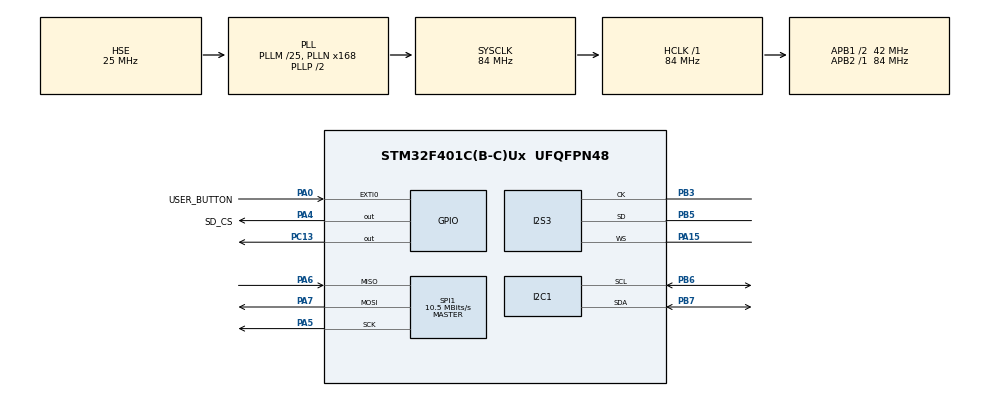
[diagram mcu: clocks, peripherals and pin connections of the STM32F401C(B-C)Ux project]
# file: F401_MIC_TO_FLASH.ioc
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Dma.I2C1_TX.3.Direction=DMA_MEMORY_TO_PERIPH
Dma.I2C1_TX.3.FIFOMode=DMA_FIFOMODE_DISABLE
Dma.I2C1_TX.3.Instance=DMA1_Stream6
Dma.I2C1_TX.3.MemDataAlignment=DMA_MDATAALIGN_BYTE
Dma.I2C1_TX.3.MemInc=DMA_MINC_ENABLE
Dma.I2C1_TX.3.Mode=DMA_NORMAL
Dma.I2C1_TX.3.PeriphDataAlignment=DMA_PDATAALIGN_BYTE
Dma.I2C1_TX.3.PeriphInc=DMA_PINC_DISABLE
Dma.I2C1_TX.3.Priority=DMA_PRIORITY_LOW
Dma.Request0=SPI1_RX
Dma.Request1=SPI1_TX
Dma.Request2=SPI3_RX
Dma.Request3=I2C1_TX
Dma.SPI1_RX.0.Direction=DMA_PERIPH_TO_MEMORY
Dma.SPI1_RX.0.FIFOMode=DMA_FIFOMODE_DISABLE
Dma.SPI1_RX.0.Instance=DMA2_Stream0
Dma.SPI1_RX.0.MemDataAlignment=DMA_MDATAALIGN_BYTE
Dma.SPI1_RX.0.MemInc=DMA_MINC_ENABLE
Dma.SPI1_RX.0.Mode=DMA_NORMAL
Dma.SPI1_RX.0.PeriphDataAlignment=DMA_PDATAALIGN_BYTE
Dma.SPI1_RX.0.PeriphInc=DMA_PINC_DISABLE
Dma.SPI1_RX.0.Priority=DMA_PRIORITY_LOW
Dma.SPI1_TX.1.Direction=DMA_MEMORY_TO_PERIPH
Dma.SPI1_TX.1.FIFOMode=DMA_FIFOMODE_DISABLE
Dma.SPI1_TX.1.Instance=DMA2_Stream3
Dma.SPI1_TX.1.MemDataAlignment=DMA_MDATAALIGN_BYTE
Dma.SPI1_TX.1.MemInc=DMA_MINC_ENABLE
Dma.SPI1_TX.1.Mode=DMA_NORMAL
Dma.SPI1_TX.1.PeriphDataAlignment=DMA_PDATAALIGN_BYTE
Dma.SPI1_TX.1.PeriphInc=DMA_PINC_DISABLE
Dma.SPI1_TX.1.Priority=DMA_PRIORITY_LOW
Dma.SPI3_RX.2.Direction=DMA_PERIPH_TO_MEMORY
Dma.SPI3_RX.2.FIFOMode=DMA_FIFOMODE_DISABLE
Dma.SPI3_RX.2.Instance=DMA1_Stream0
Dma.SPI3_RX.2.MemDataAlignment=DMA_MDATAALIGN_WORD
Dma.SPI3_RX.2.MemInc=DMA_MINC_ENABLE
Dma.SPI3_RX.2.Mode=DMA_CIRCULAR
Dma.SPI3_RX.2.PeriphDataAlignment=DMA_PDATAALIGN_WORD
Dma.SPI3_RX.2.PeriphInc=DMA_PINC_DISABLE
Dma.SPI3_RX.2.Priority=DMA_PRIORITY_LOW
FATFS._FS_LOCK=5
FATFS._MAX_SS=4096
FATFS._USE_LFN=1
I2C1.I2C_Mode=I2C_Fast
I2S3.AudioFreq=I2S_AUDIOFREQ_16K
I2S3.DataFormat=I2S_DATAFORMAT_24B
I2S3.ErrorAudioFreq=-0.26 %
I2S3.FullDuplexMode=I2S_FULLDUPLEXMODE_DISABLE
I2S3.Instance=SPI$Index
I2S3.Mode=I2S_MODE_MASTER_RX
I2S3.RealAudioFreq=15.957 KHz
I2S3.VirtualMode=I2S_MODE_MASTER
Mcu.Family=STM32F4
Mcu.Name=STM32F401C(B-C)Ux
Mcu.Package=UFQFPN48
NVIC.DMA1_Stream0_IRQn=true\:0\:0\:false\:false\:true\:false\:true\:true
NVIC.DMA1_Stream6_IRQn=true\:0\:0\:false\:false\:true\:false\:true\:true
NVIC.DMA2_Stream0_IRQn=true\:0\:0\:false\:false\:true\:false\:true\:true
NVIC.DMA2_Stream3_IRQn=true\:0\:0\:false\:false\:true\:false\:true\:true
NVIC.EXTI0_IRQn=true\:0\:0\:false\:false\:true\:true\:true\:true
NVIC.I2C1_EV_IRQn=true\:0\:0\:false\:false\:true\:true\:true\:true
NVIC.PriorityGroup=NVIC_PRIORITYGROUP_4
PA0-WKUP.GPIO_Label=USER_BUTTON
PA0-WKUP.GPIO_PuPd=GPIO_PULLUP
PA0-WKUP.Signal=GPXTI0
PA15.Mode=Half_Duplex_Master
PA15.Signal=I2S3_WS
PA4.GPIO_Label=SD_CS
PA4.Signal=GPIO_Output
PA5.Mode=Full_Duplex_Master
PA5.Signal=SPI1_SCK
PA6.Mode=Full_Duplex_Master
PA6.Signal=SPI1_MISO
PA7.Mode=Full_Duplex_Master
PA7.Signal=SPI1_MOSI
PB3.Mode=Half_Duplex_Master
PB3.Signal=I2S3_CK
PB5.Mode=Half_Duplex_Master
PB5.Signal=I2S3_SD
PB6.Mode=I2C
PB6.Signal=I2C1_SCL
PB7.Mode=I2C
PB7.Signal=I2C1_SDA
PC13-ANTI_TAMP.Signal=GPIO_Output
PH0\ -\ OSC_IN.Mode=HSE-External-Oscillator
PH0\ -\ OSC_IN.Signal=RCC_OSC_IN
PH1\ -\ OSC_OUT.Mode=HSE-External-Oscillator
PH1\ -\ OSC_OUT.Signal=RCC_OSC_OUT
ProjectManager.HeapSize=0x200
ProjectManager.StackSize=0x400
ProjectManager.TargetToolchain=STM32CubeIDE
RCC.48MHZClocksFreq_Value=42000000
RCC.AHBFreq_Value=84000000
RCC.APB1CLKDivider=RCC_HCLK_DIV2
RCC.APB1Freq_Value=42000000
RCC.APB1TimFreq_Value=84000000
RCC.APB2Freq_Value=84000000
RCC.APB2TimFreq_Value=84000000
RCC.CortexFreq_Value=84000000
RCC.HCLKFreq_Value=84000000
RCC.HSE_VALUE=25000000
RCC.HSI_VALUE=16000000
RCC.LSE_VALUE=32768
RCC.PLLM=25
RCC.PLLN=168
RCC.PLLSourceVirtual=RCC_PLLSOURCE_HSE
RCC.SYSCLKFreq_VALUE=84000000
RCC.SYSCLKSource=RCC_SYSCLKSOURCE_PLLCLK
RCC.VCOOutputFreq_Value=168000000
SPI1.BaudRatePrescaler=SPI_BAUDRATEPRESCALER_8
SPI1.CalculateBaudRate=10.5 MBits/s
SPI1.Direction=SPI_DIRECTION_2LINES
SPI1.Mode=SPI_MODE_MASTER
SPI1.VirtualType=VM_MASTER
VP_FATFS_VS_Generic.Mode=User_defined
board=custom

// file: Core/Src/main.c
/* USER CODE BEGIN Header */
/**
  ******************************************************************************
  * @file           : main.c
  * @brief          : Main program body
  ******************************************************************************
  * @attention
  *
  * Copyright (c) 2023 STMicroelectronics.
  * All rights reserved.
  *
  * This software is licensed under terms that can be found in the LICENSE file
  * in the root directory of this software component.
  * If no LICENSE file comes with this software, it is provided AS-IS.
  *
  ******************************************************************************
  */
/* USER CODE END Header */
#include "main.h"
#include "dma.h"
#include "fatfs.h"
#include "i2c.h"
#include "i2s.h"
#include "spi.h"
#include "gpio.h"

/* USER CODE BEGIN Includes */
#include "stdlib.h"
#include "audio.h"
#include "blinker.h"
#include "flash.h"
#include "ssd1306.h"
/* USER CODE END Includes */

/* USER CODE BEGIN PV */
uint8_t enableBlink = 1;
uint8_t flashRecordingState = 0;
FIL audio_file;
uint8_t oledLineX = 0;
/* USER CODE END PV */

void SystemClock_Config(void);

int main(void)
{

  /* MCU Configuration--------------------------------------------------------*/

  /* Reset of all peripherals, Initializes the Flash interface and the Systick. */
  HAL_Init();

  /* Configure the system clock */
  SystemClock_Config();

  /* Initialize all configured peripherals */
  MX_GPIO_Init();
  MX_DMA_Init();
  MX_SPI1_Init();
  MX_FATFS_Init();
  MX_I2S3_Init();
  MX_I2C1_Init();
  /* USER CODE BEGIN 2 */
#if OLED_ENABLE == 1U
  ssd1306_Init();
  HAL_Delay(500);
  oledLineX = 127;
  uint8_t oledLineHeight = 0;

  ssd1306_SetColor(Black);
  ssd1306_Fill();
  ssd1306_UpdateScreen();
  HAL_Delay(500);
  ssd1306_SetColor(White);
  ssd1306_Fill();
  ssd1306_UpdateScreen();
  HAL_Delay(500);
  ssd1306_SetColor(Black);
  ssd1306_Fill();
  ssd1306_UpdateScreen();
  HAL_Delay(500);

//  while (1) {
//	  ssd1306_SetColor(Black);
//	  ssd1306_DrawVerticalLine(oledLineX - 1, 0, 64);
//
//	  ssd1306_SetColor(White);
//	  ssd1306_DrawVerticalLine(oledLineX, 32 - (oledLineHeight >> 1), oledLineHeight);
//
//	  ssd1306_UpdateScreen();
//
//	  if (--oledLineX > 127)
//		  oledLineX = 127;
//
//	  HAL_Delay(10);
//
//	  oledLineHeight = rand() % 64;
//  }

#endif
  audio_Start();
  /* USER CODE END 2 */

  /* Infinite loop */
  /* USER CODE BEGIN WHILE */
  while (1)
  {
	  processFlashRecording();

    /* USER CODE END WHILE */

  }
}

void SystemClock_Config(void)
{
  RCC_OscInitTypeDef RCC_OscInitStruct = {0};
  RCC_ClkInitTypeDef RCC_ClkInitStruct = {0};

  /** Configure the main internal regulator output voltage
  */
  __HAL_RCC_PWR_CLK_ENABLE();
  __HAL_PWR_VOLTAGESCALING_CONFIG(PWR_REGULATOR_VOLTAGE_SCALE2);

  /** Initializes the RCC Oscillators according to the specified parameters
  * in the RCC_OscInitTypeDef structure.
  */
  RCC_OscInitStruct.OscillatorType = RCC_OSCILLATORTYPE_HSE;
  RCC_OscInitStruct.HSEState = RCC_HSE_ON;
  RCC_OscInitStruct.PLL.PLLState = RCC_PLL_ON;
  RCC_OscInitStruct.PLL.PLLSource = RCC_PLLSOURCE_HSE;
  RCC_OscInitStruct.PLL.PLLM = 25;
  RCC_OscInitStruct.PLL.PLLN = 168;
  RCC_OscInitStruct.PLL.PLLP = RCC_PLLP_DIV2;
  RCC_OscInitStruct.PLL.PLLQ = 4;
  if (HAL_RCC_OscConfig(&RCC_OscInitStruct) != HAL_OK)
  {
    Error_Handler();
  }

  /** Initializes the CPU, AHB and APB buses clocks
  */
  RCC_ClkInitStruct.ClockType = RCC_CLOCKTYPE_HCLK|RCC_CLOCKTYPE_SYSCLK
                              |RCC_CLOCKTYPE_PCLK1|RCC_CLOCKTYPE_PCLK2;
  RCC_ClkInitStruct.SYSCLKSource = RCC_SYSCLKSOURCE_PLLCLK;
  RCC_ClkInitStruct.AHBCLKDivider = RCC_SYSCLK_DIV1;
  RCC_ClkInitStruct.APB1CLKDivider = RCC_HCLK_DIV2;
  RCC_ClkInitStruct.APB2CLKDivider = RCC_HCLK_DIV1;

  if (HAL_RCC_ClockConfig(&RCC_ClkInitStruct, FLASH_LATENCY_2) != HAL_OK)
  {
    Error_Handler();
  }
}

/* USER CODE BEGIN 4 */
void HAL_GPIO_EXTI_Callback(uint16_t GPIO_Pin) {
	if (GPIO_Pin == USER_BUTTON_Pin) {
		if (flashRecordingState == 0)
			flashRecordingState = 1;
		else if (flashRecordingState == 2)
			flashRecordingState = 3;
		else
			flashRecordingState = 0;
	}
}

void processFlashRecording() {
	if (flashRecordingState == 0)
	  return;

	if (flashRecordingState == 1) {
		// Init file
		if (flashRecordingState == 1) {
			if (flash_Mount() != FR_OK) {
				blinker_Heartbeat(100, 4, 250, 4, -1);
			}

			if (flash_OpenFile(&audio_file, "audio_board.pcm") != FR_OK) {
				blinker_Heartbeat(200, 4, 500, 2, -1);
			}

			flashRecordingState = 2;
		}
	} else if (flashRecordingState == 2 && *audio_BufferUpdated() == 1) {
		// Write file
		if (flash_WriteAppend(&audio_file, audio_GetBuffer(), AUDIO_FRAME_SIZE * 2) != FR_OK) {
			blinker_Heartbeat(200, 2, 500, 2, -1);
		}

#if OLED_ENABLE == 1U
		visualisePCM();
#endif
		blinker_BlinkOnce();
	} else if (flashRecordingState == 3) {
		flash_CloseFile(&audio_file);
		flash_Unmount();
		flashRecordingState = 0;
	}
}

void visualisePCM() {
	int16_t *audioFrameBuffer = audio_GetBuffer();
	int16_t maxAudioFrameValue = 0;

	for (int i = 10; i < AUDIO_FRAME_SIZE; i++) {
		if (maxAudioFrameValue < abs(audioFrameBuffer[i]) && abs(audioFrameBuffer[i]) <= 512)
			maxAudioFrameValue = abs(audioFrameBuffer[i]);
	}

	maxAudioFrameValue /= 8;

	if (maxAudioFrameValue > 64)
		maxAudioFrameValue = 64;

	if (maxAudioFrameValue == 0)
		maxAudioFrameValue = 1;

	uint16_t lineH = (uint16_t)maxAudioFrameValue;

	ssd1306_SetColor(Black);
	if (oledLineX == 0)
		ssd1306_DrawVerticalLine(127, 0, 64);
	else
		ssd1306_DrawVerticalLine(oledLineX - 1, 0, 64);

	ssd1306_SetColor(White);
	ssd1306_DrawVerticalLine(oledLineX, 32 - (lineH >> 1), lineH);

	ssd1306_UpdateScreen();

	if (--oledLineX == 255)
		oledLineX = 127;
}
/* USER CODE END 4 */

void Error_Handler(void)
{
  __disable_irq();
  while (1)
  {
  }
}
